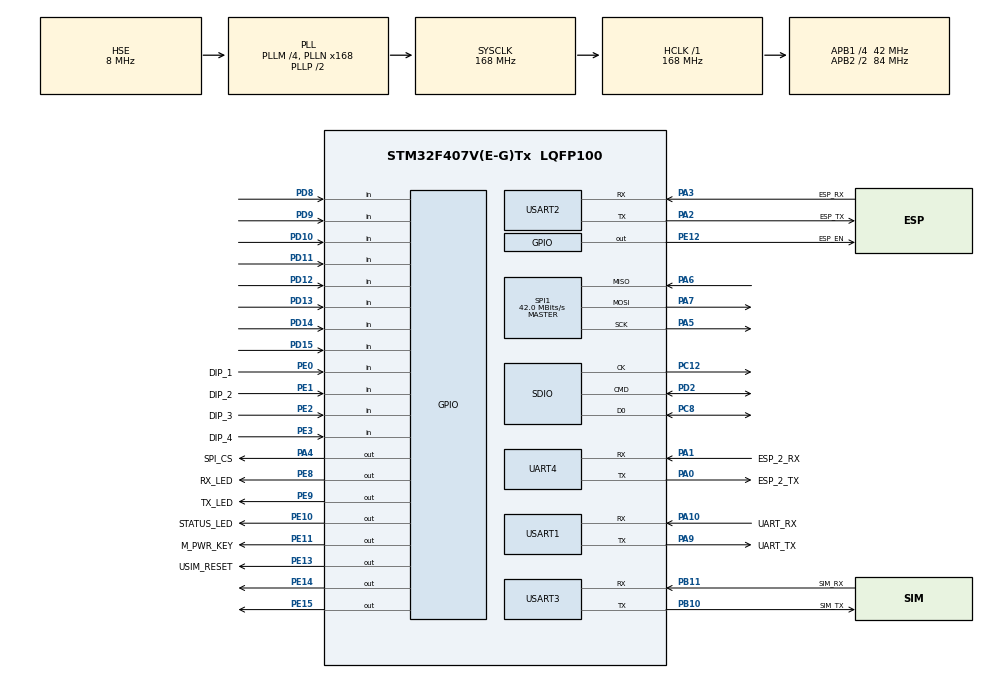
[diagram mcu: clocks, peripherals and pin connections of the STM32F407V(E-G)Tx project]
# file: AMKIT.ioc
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Mcu.Family=STM32F4
Mcu.Name=STM32F407V(E-G)Tx
Mcu.Package=LQFP100
NVIC.PriorityGroup=NVIC_PRIORITYGROUP_4
NVIC.RTC_Alarm_IRQn=true\:0\:0\:false\:false\:true\:true\:true\:true
NVIC.TIM7_IRQn=true\:0\:0\:false\:false\:true\:true\:true\:true
NVIC.USART1_IRQn=true\:0\:0\:false\:false\:true\:true\:true\:true
NVIC.USART2_IRQn=true\:0\:0\:false\:false\:true\:true\:true\:true
NVIC.USART3_IRQn=true\:0\:0\:false\:false\:true\:true\:true\:true
PA0-WKUP.GPIO_Label=ESP_2_TX
PA0-WKUP.Mode=Asynchronous
PA0-WKUP.Signal=UART4_TX
PA1.GPIO_Label=ESP_2_RX
PA1.Mode=Asynchronous
PA1.Signal=UART4_RX
PA10.GPIO_Label=UART_RX
PA10.Mode=Asynchronous
PA10.Signal=USART1_RX
PA13.Mode=Trace_Asynchronous_SW
PA13.Signal=SYS_JTMS-SWDIO
PA14.Mode=Trace_Asynchronous_SW
PA14.Signal=SYS_JTCK-SWCLK
PA2.GPIO_Label=ESP_TX
PA2.Mode=Asynchronous
PA2.Signal=USART2_TX
PA3.GPIO_Label=ESP_RX
PA3.Mode=Asynchronous
PA3.Signal=USART2_RX
PA4.GPIO_Label=SPI_CS
PA4.Signal=GPIO_Output
PA5.Mode=Full_Duplex_Master
PA5.Signal=SPI1_SCK
PA6.Mode=Full_Duplex_Master
PA6.Signal=SPI1_MISO
PA7.Mode=Full_Duplex_Master
PA7.Signal=SPI1_MOSI
PA9.GPIO_Label=UART_TX
PA9.Mode=Asynchronous
PA9.Signal=USART1_TX
PB10.GPIO_Label=SIM_TX
PB10.Mode=Asynchronous
PB10.Signal=USART3_TX
PB11.GPIO_Label=SIM_RX
PB11.Mode=Asynchronous
PB11.Signal=USART3_RX
PB3.Mode=Trace_Asynchronous_SW
PB3.Signal=SYS_JTDO-SWO
PC12.Mode=SD_1_bit
PC12.Signal=SDIO_CK
PC14-OSC32_IN.Mode=LSE-External-Oscillator
PC14-OSC32_IN.Signal=RCC_OSC32_IN
PC15-OSC32_OUT.Mode=LSE-External-Oscillator
PC15-OSC32_OUT.Signal=RCC_OSC32_OUT
PC8.Mode=SD_1_bit
PC8.Signal=SDIO_D0
PD10.Signal=GPIO_Input
PD11.Signal=GPIO_Input
PD12.Signal=GPIO_Input
PD13.Signal=GPIO_Input
PD14.Signal=GPIO_Input
PD15.Signal=GPIO_Input
PD2.Mode=SD_1_bit
PD2.Signal=SDIO_CMD
PD8.Signal=GPIO_Input
PD9.Signal=GPIO_Input
PE0.GPIO_Label=DIP_1
PE0.GPIO_PuPd=GPIO_PULLUP
PE0.Signal=GPIO_Input
PE1.GPIO_Label=DIP_2
PE1.GPIO_PuPd=GPIO_PULLUP
PE1.Signal=GPIO_Input
PE10.GPIO_Label=STATUS_LED
PE10.Signal=GPIO_Output
PE11.GPIO_Label=M_PWR_KEY
PE11.Signal=GPIO_Output
PE12.GPIO_Label=ESP_EN
PE12.Signal=GPIO_Output
PE13.GPIO_Label=USIM_RESET
PE13.Signal=GPIO_Output
PE14.Signal=GPIO_Output
PE15.Signal=GPIO_Output
PE2.GPIO_Label=DIP_3
PE2.GPIO_PuPd=GPIO_PULLUP
PE2.Signal=GPIO_Input
PE3.GPIO_Label=DIP_4
PE3.GPIO_PuPd=GPIO_PULLUP
PE3.Signal=GPIO_Input
PE8.GPIO_Label=RX_LED
PE8.Signal=GPIO_Output
PE9.GPIO_Label=TX_LED
PE9.Signal=GPIO_Output
PH0-OSC_IN.Mode=HSE-External-Oscillator
PH0-OSC_IN.Signal=RCC_OSC_IN
PH1-OSC_OUT.Mode=HSE-External-Oscillator
PH1-OSC_OUT.Signal=RCC_OSC_OUT
ProjectManager.HeapSize=0x200
ProjectManager.StackSize=0x400
ProjectManager.TargetToolchain=STM32CubeIDE
RCC.48MHZClocksFreq_Value=48000000
RCC.AHBFreq_Value=168000000
RCC.APB1CLKDivider=RCC_HCLK_DIV4
RCC.APB1Freq_Value=42000000
RCC.APB1TimFreq_Value=84000000
RCC.APB2CLKDivider=RCC_HCLK_DIV2
RCC.APB2Freq_Value=84000000
RCC.APB2TimFreq_Value=168000000
RCC.CortexFreq_Value=168000000
RCC.HCLKFreq_Value=168000000
RCC.HSE_VALUE=8000000
RCC.HSI_VALUE=16000000
RCC.PLLM=4
RCC.PLLN=168
RCC.PLLQ=7
RCC.PLLSourceVirtual=RCC_PLLSOURCE_HSE
RCC.RCC_RTC_Clock_Source=RCC_RTCCLKSOURCE_LSE
RCC.RCC_RTC_Clock_SourceVirtual=RCC_RTCCLKSOURCE_LSE
RCC.SYSCLKFreq_VALUE=168000000
RCC.SYSCLKSource=RCC_SYSCLKSOURCE_PLLCLK
RCC.VCOOutputFreq_Value=336000000
RTC.Alarm=RTC_ALARM_A
SPI1.BaudRatePrescaler=SPI_BAUDRATEPRESCALER_2
SPI1.CalculateBaudRate=42.0 MBits/s
SPI1.Direction=SPI_DIRECTION_2LINES
SPI1.Mode=SPI_MODE_MASTER
SPI1.VirtualType=VM_MASTER
TIM7.Period=840-1
TIM7.Prescaler=100-1
UART4.VirtualMode=Asynchronous
USART1.VirtualMode=VM_ASYNC
USART2.VirtualMode=VM_ASYNC
USART3.VirtualMode=VM_ASYNC
VP_FATFS_VS_SDIO.Mode=SDIO
VP_RTC_VS_RTC_Activate.Mode=RTC_Enabled
VP_RTC_VS_RTC_Alarm_A_Intern.Mode=Alarm A
VP_RTC_VS_RTC_Calendar.Mode=RTC_Calendar
VP_TIM7_VS_ClockSourceINT.Mode=Enable_Timer
board=custom

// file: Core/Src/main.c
/* USER CODE BEGIN Header */
/**
  ******************************************************************************
  * @file           : main.c
  * @brief          : Main program body
  ******************************************************************************
  * @attention
  *
  * Copyright (c) 2025 STMicroelectronics.
  * All rights reserved.
  *
  * This software is licensed under terms that can be found in the LICENSE file
  * in the root directory of this software component.
  * If no LICENSE file comes with this software, it is provided AS-IS.
  *
  ******************************************************************************
  */
/* USER CODE END Header */
#include "main.h"
#include "fatfs.h"

/* USER CODE BEGIN PD */

#define RTC_MAGIC_REG   RTC_BKP_DR1     // RTC 백업 레지스터 1번 사용
#define RTC_MAGIC_VALUE 0x32F2          // RTC 초기화 확인을 위한 매직 넘버

/* USER CODE END PD */

RTC_HandleTypeDef hrtc;

SD_HandleTypeDef hsd;

SPI_HandleTypeDef hspi1;

TIM_HandleTypeDef htim7;

UART_HandleTypeDef huart4;
UART_HandleTypeDef huart1;
UART_HandleTypeDef huart2;
UART_HandleTypeDef huart3;

/* USER CODE BEGIN PV */

#if 0
// // 전역 변수 선언
// static uint16_t ms_tick_1       = 0;                // 1 ms 카운터

// // STM UART 변수 선언
// static uint16_t alive_counter   = 0;                // 10 s 생존 메시지 카운터
// uint8_t txBuf[]                 = "Hello from STM32 IRQ!\r\n";
// uint8_t rxByte;                                     // 1 바이트 UART RX 버퍼
// uint8_t txAlive[]               = "ALIVE\n";        // 10 s 마다 보낼 메시지

// // ESP32 AT 명령어를 위한 변수 선언
// uint8_t atCmd[]                 = "AT+GMR\r\n";
// // uint8_t g_atRxByte;                                 // 1바이트씩 받기              / 외부 선언 해줬음
// // static char  atLineBuf[AT_RX_BUF_SIZE];             // AT 명령어 수신 버퍼         / 외부 선언 해줬음
// // static uint8_t atIdx            = 0;                // AT 명령어 수신 인덱스       / 외부 선언 해줬음

// // 모드 변수
// uint8_t g_nBoot_Status = BOOT_IN_PROGRESS;            // 부팅 상태 (0: 부팅 성공, 1: 부팅 중, 2: 부팅 실패 등)
// uint8_t g_nMode = 0;                                  // 현재 모드 (0: 마스터, 1: 슬레이브, 2: AP 등)
// uint8_t g_nWifi_Status = DEVICE_WIFI_DISCONNECTED;    // WiFi 연결 상태 (0: 연결 안됨, 1: 연결 됨)
// uint8_t g_nTime_Status = DEVICE_TIME_NOT_SYNCED;      // 시간 동기화 상태 (0: 동기화 안됨, 1: 동기화 됨)
// uint8_t g_nToken_Status = DEVICE_TOKEN_NOT_SET;       // 토큰 상태 (0: 토큰 없음, 1: 토큰 있음)

#endif
// RTC 변수 선언
RTC_TimeTypeDef g_Time;                             // RTC 시간 구조체
RTC_DateTypeDef g_Date;                             // RTC 날짜 구조체

/* USER CODE END PV */

void SystemClock_Config(void);
static void MX_GPIO_Init(void);
static void MX_RTC_Init(void);
static void MX_SDIO_SD_Init(void);
static void MX_SPI1_Init(void);
static void MX_TIM7_Init(void);
static void MX_USART1_UART_Init(void);
static void MX_USART2_UART_Init(void);
static void MX_USART3_UART_Init(void);
static void MX_UART4_Init(void);

int main(void)
{

  /* USER CODE BEGIN 1 */

	// =======================================================================================================
	//    __  __            _____  _   _
	//   |  \/  |    /\    |_   _|| \ | |
	//   | \  / |   /  \     | |  |  \| |
	//   | |\/| |  / /\ \    | |  | . ` |
	//   | |  | | / ____ \  _| |_ | |\  |
	//   |_|  |_|/_/    \_\|_____||_| \_|
	//
	// =======================================================================================================

  /* USER CODE END 1 */

  /* MCU Configuration--------------------------------------------------------*/

  /* Reset of all peripherals, Initializes the Flash interface and the Systick. */
  HAL_Init();

  /* Configure the system clock */
  SystemClock_Config();

  /* Initialize all configured peripherals */
  MX_GPIO_Init();
  MX_RTC_Init();
  MX_SDIO_SD_Init();
  MX_SPI1_Init();
  MX_TIM7_Init();
  MX_USART1_UART_Init();
  MX_USART2_UART_Init();
  MX_USART3_UART_Init();
  MX_FATFS_Init();
  MX_UART4_Init();
  /* USER CODE BEGIN 2 */

  // =-=-=-=-=-=-=-=-=-=-=-=-=-=-=-=-=-=-=-=-=-=-=-=-=-=-=-=-=-=-=-=-=-=-=-=-=-=-=-=-=-=
  // CCM 영역 초기화

  Oper_CCM_Init();

  // =-=-=-=-=-=-=-=-=-=-=-=-=-=-=-=-=-=-=-=-=-=-=-=-=-=-=-=-=-=-=-=-=-=-=-=-=-=-=-=-=-=

  // 타이머 인터럽트 모드로 시작 (TIM7은 이미 PSC/ARR로 1 kHz, 1 ms 인터럽트로 설정되어 있다고 가정)
  if (HAL_TIM_Base_Start_IT(&htim7) != HAL_OK)
  {
    Error_Handler();
  }

  // 1) 콜백 기반 수신을 시작 (1바이트)
  if (HAL_UART_Receive_IT(&huart1, &rxByte, 1) != HAL_OK)
  {
    // 수신 시작 실패 처리
    Error_Handler();
  }

  // SIM uart 콜백 기반 수신 시작
  if (HAL_UART_Receive_IT(&huart3, &rxSIMByte, 1) != HAL_OK)
  {
    // SIM 수신 시작 실패 처리
    Error_Handler();
  }

  // 2) 와이파이 설정 이후에 UART2 인터럽트 활성화 (1바이트씩)
  // if (HAL_UART_Receive_IT(&huart2, &g_atRxByte, 1) != HAL_OK)
  // {
  //   // 수신 시작 실패 처리
  //   Error_Handler();
  // }

  // ──────────────────────────────────────────────────────────────────────────────

  // CCM은 아니지만 기본 초기화
  Oper_Init();

  // ──────────────────────────────────────────────────────────────────────────────

  // 딥스위치 체크
  Mode_Check(); // AP 모드 체크 및 설정

  // ──────────────────────────────────────────────────────────────────────────────

  Main_System();

  // ──────────────────────────────────────────────────────────────────────────────

  // ──────────────────────────────────────────────────────────────────────────────

  // ──────────────────────────────────────────────────────────────────────────────

  Oper_Boot();

  // AP 모드 인지 확인
  if (g_nMode != MODE_AP)
  {
    // 토큰 값, 모기체 고유 값, 자기체 고유 값 서버로 전송
    Server_Send_Boot();
    // Test_Server_Send_Boot(); // 박과장님 서버로 날림
  }

  g_nBoot_Status = BOOT_SUCCESS; // 부팅 성공 상태로 설정

  // ESP_AT_Send_Command_Sync("AT+CIPMUX=1\r\n");  // 멀티 커넥션 모드 활성화
  // ESP_AT_Send_Command_Sync("AT+CIPSERVER=1,80\r\n"); // TCP 서버 시작 (포트 80)

  // ──────────────────────────────────────────────────────────────────────────────

  while (1)
  {
    Master_Proc(); // 메인 프로세스 실행

  }

  // ──────────────────────────────────────────────────────────────────────────────

  // ──────────────────────────────────────────────────────────────────────────────

  // ──────────────────────────────────────────────────────────────────────────────

  // ──────────────────────────────────────────────────────────────────────────────

  // dip 스위치 1번 상태 OFF(default) 상태일 때
  if (HAL_GPIO_ReadPin(DIP_1_GPIO_Port, DIP_1_Pin) == GPIO_PIN_RESET)
  {
    g_nMode = MODE_MASTER; // 마스터 모드로 설정
  }
  else
  {
    g_nMode = MODE_SLAVE; // 슬레이브 모드로 설정
  }

  /* USER CODE END 2 */

  /* Infinite loop */
  /* USER CODE BEGIN WHILE */
  while (1)
  {

#if 0
    switch (g_nMode)
    {
      case MODE_MASTER:
        // 마스터 모드 동작
        // STATUS LED 0.5초 ON, 0.5초 OFF
        HAL_GPIO_WritePin(STATUS_LED_GPIO_Port, STATUS_LED_Pin, GPIO_PIN_SET);  // LED ON
        HAL_Delay(500);  // 0.5초 대기
        HAL_GPIO_WritePin(STATUS_LED_GPIO_Port, STATUS_LED_Pin, GPIO_PIN_RESET); // LED OFF
        HAL_Delay(500);  // 0.5초 대기
        break;

      case MODE_SLAVE:
        break; // 슬레이브 모드 동작

      case MODE_AP:
        break;

      case MODE_UNKNOWN:
        break;

      default:
        break;
    }
#endif
    /* USER CODE END WHILE */

  }
}

void SystemClock_Config(void)
{
  RCC_OscInitTypeDef RCC_OscInitStruct = {0};
  RCC_ClkInitTypeDef RCC_ClkInitStruct = {0};

  /** Configure the main internal regulator output voltage
  */
  __HAL_RCC_PWR_CLK_ENABLE();
  __HAL_PWR_VOLTAGESCALING_CONFIG(PWR_REGULATOR_VOLTAGE_SCALE1);

  /** Initializes the RCC Oscillators according to the specified parameters
  * in the RCC_OscInitTypeDef structure.
  */
  RCC_OscInitStruct.OscillatorType = RCC_OSCILLATORTYPE_HSE|RCC_OSCILLATORTYPE_LSE;
  RCC_OscInitStruct.HSEState = RCC_HSE_ON;
  RCC_OscInitStruct.LSEState = RCC_LSE_ON;
  RCC_OscInitStruct.PLL.PLLState = RCC_PLL_ON;
  RCC_OscInitStruct.PLL.PLLSource = RCC_PLLSOURCE_HSE;
  RCC_OscInitStruct.PLL.PLLM = 4;
  RCC_OscInitStruct.PLL.PLLN = 168;
  RCC_OscInitStruct.PLL.PLLP = RCC_PLLP_DIV2;
  RCC_OscInitStruct.PLL.PLLQ = 7;
  if (HAL_RCC_OscConfig(&RCC_OscInitStruct) != HAL_OK)
  {
    Error_Handler();
  }

  /** Initializes the CPU, AHB and APB buses clocks
  */
  RCC_ClkInitStruct.ClockType = RCC_CLOCKTYPE_HCLK|RCC_CLOCKTYPE_SYSCLK
                              |RCC_CLOCKTYPE_PCLK1|RCC_CLOCKTYPE_PCLK2;
  RCC_ClkInitStruct.SYSCLKSource = RCC_SYSCLKSOURCE_PLLCLK;
  RCC_ClkInitStruct.AHBCLKDivider = RCC_SYSCLK_DIV1;
  RCC_ClkInitStruct.APB1CLKDivider = RCC_HCLK_DIV4;
  RCC_ClkInitStruct.APB2CLKDivider = RCC_HCLK_DIV2;

  if (HAL_RCC_ClockConfig(&RCC_ClkInitStruct, FLASH_LATENCY_5) != HAL_OK)
  {
    Error_Handler();
  }
}

static void MX_RTC_Init(void)
{

  /* USER CODE BEGIN RTC_Init 0 */
  // =======================================================================================================
  //    __  __ __   __           _____  _______  _____            _____         _  _
  //   |  \/  |\ \ / /          |  __ \|__   __|/ ____|          |_   _|       (_)| |
  //   | \  / | \ V /   ______  | |__) |  | |  | |       ______    | |   _ __   _ | |_
  //   | |\/| |  > <   |______| |  _  /   | |  | |      |______|   | |  | '_ \ | || __|
  //   | |  | | / . \           | | \ \   | |  | |____            _| |_ | | | || || |_
  //   |_|  |_|/_/ \_\          |_|  \_\  |_|   \_____|          |_____||_| |_||_| \__|
  //
  //
  // =======================================================================================================

  /* USER CODE END RTC_Init 0 */

  // RTC_TimeTypeDef sTime = {0};
  // RTC_DateTypeDef sDate = {0};
  // RTC_AlarmTypeDef sAlarm = {0};

  /* USER CODE BEGIN RTC_Init 1 */
  // 위 3개 구조체 변수는 사용안함, 주석처리
  /* USER CODE END RTC_Init 1 */

  /** Initialize RTC Only
  */
  hrtc.Instance = RTC;
  hrtc.Init.HourFormat = RTC_HOURFORMAT_24;
  hrtc.Init.AsynchPrediv = 127;
  hrtc.Init.SynchPrediv = 255;
  hrtc.Init.OutPut = RTC_OUTPUT_DISABLE;
  hrtc.Init.OutPutPolarity = RTC_OUTPUT_POLARITY_HIGH;
  hrtc.Init.OutPutType = RTC_OUTPUT_TYPE_OPENDRAIN;
  if (HAL_RTC_Init(&hrtc) != HAL_OK)
  {
    Error_Handler();
  }

  /* USER CODE BEGIN Check_RTC_BKUP */

  // RTC 백업 레지스터를 읽어 초기화 여부 확인
  if (HAL_RTCEx_BKUPRead(&hrtc, RTC_MAGIC_REG) != RTC_MAGIC_VALUE)
  {
    // RTC 백업 레지스터가 초기화되지 않았거나 값이 일치하지 않으면 RTC를 초기화
    // RTC 백업 레지스터에 초기화 마크를 기록
    HAL_RTCEx_BKUPWrite(&hrtc, RTC_MAGIC_REG, RTC_MAGIC_VALUE);

    // RTC 시간과 날짜를 초기화
    g_Time.Hours = 0x0;  // 00:00:00
    g_Time.Minutes = 0x0;
    g_Time.Seconds = 0x0;
    g_Time.DayLightSaving = RTC_DAYLIGHTSAVING_NONE;
    g_Time.StoreOperation = RTC_STOREOPERATION_RESET;

    if (HAL_RTC_SetTime(&hrtc, &g_Time, RTC_FORMAT_BCD) != HAL_OK)
    {
      // 초기화 실패 처리
      Error_Handler();
    }
    g_Date.WeekDay = RTC_WEEKDAY_MONDAY;    // 월요일
    g_Date.Month = RTC_MONTH_JANUARY;       // 1월
    g_Date.Date = 0x1;                      // 1일
    g_Date.Year = 0x25;                     // 2025년 (BCD 형식으로 25)

    if (HAL_RTC_SetDate(&hrtc, &g_Date, RTC_FORMAT_BCD) != HAL_OK)
    {
      // 초기화 실패 처리
      Error_Handler();
    }

  }
  else
  {
    // RTC 백업 레지스터가 초기화되어 있으면 현재 시간과 날짜를 읽어옴
    HAL_RTC_GetTime(&hrtc, &g_Time, RTC_FORMAT_BCD);
    HAL_RTC_GetDate(&hrtc, &g_Date, RTC_FORMAT_BCD);
  }

// 아래 코드 사용안함===============================================================================
  /* USER CODE END Check_RTC_BKUP */

  /** Initialize RTC and set the Time and Date
  */
  // sTime.Hours = 0x0;
  // sTime.Minutes = 0x0;
  // sTime.Seconds = 0x0;
  // sTime.DayLightSaving = RTC_DAYLIGHTSAVING_NONE;
  // sTime.StoreOperation = RTC_STOREOPERATION_RESET;
  // if (HAL_RTC_SetTime(&hrtc, &sTime, RTC_FORMAT_BCD) != HAL_OK)
  // {
  //   Error_Handler();
  // }
  // sDate.WeekDay = RTC_WEEKDAY_MONDAY;
  // sDate.Month = RTC_MONTH_JANUARY;
  // sDate.Date = 0x1;
  // sDate.Year = 0x0;

  // if (HAL_RTC_SetDate(&hrtc, &sDate, RTC_FORMAT_BCD) != HAL_OK)
  // {
  //   Error_Handler();
  // }

  // /** Enable the Alarm A
  // */
  // sAlarm.AlarmTime.Hours = 0x0;
  // sAlarm.AlarmTime.Minutes = 0x0;
  // sAlarm.AlarmTime.Seconds = 0x0;
  // sAlarm.AlarmTime.SubSeconds = 0x0;
  // sAlarm.AlarmTime.DayLightSaving = RTC_DAYLIGHTSAVING_NONE;
  // sAlarm.AlarmTime.StoreOperation = RTC_STOREOPERATION_RESET;
  // sAlarm.AlarmMask = RTC_ALARMMASK_NONE;
  // sAlarm.AlarmSubSecondMask = RTC_ALARMSUBSECONDMASK_ALL;
  // sAlarm.AlarmDateWeekDaySel = RTC_ALARMDATEWEEKDAYSEL_DATE;
  // sAlarm.AlarmDateWeekDay = 0x1;
  // sAlarm.Alarm = RTC_ALARM_A;
  // if (HAL_RTC_SetAlarm_IT(&hrtc, &sAlarm, RTC_FORMAT_BCD) != HAL_OK)
  // {
  //   Error_Handler();
  // }
  /* USER CODE BEGIN RTC_Init 2 */
// 위 코드 사용안함===============================================================================
  /* USER CODE END RTC_Init 2 */

}

static void MX_SDIO_SD_Init(void)
{

  hsd.Instance = SDIO;
  hsd.Init.ClockEdge = SDIO_CLOCK_EDGE_RISING;
  hsd.Init.ClockBypass = SDIO_CLOCK_BYPASS_DISABLE;
  hsd.Init.ClockPowerSave = SDIO_CLOCK_POWER_SAVE_DISABLE;
  hsd.Init.BusWide = SDIO_BUS_WIDE_1B;
  hsd.Init.HardwareFlowControl = SDIO_HARDWARE_FLOW_CONTROL_DISABLE;
  hsd.Init.ClockDiv = 0;

}

static void MX_SPI1_Init(void)
{

  /* SPI1 parameter configuration*/
  hspi1.Instance = SPI1;
  hspi1.Init.Mode = SPI_MODE_MASTER;
  hspi1.Init.Direction = SPI_DIRECTION_2LINES;
  hspi1.Init.DataSize = SPI_DATASIZE_8BIT;
  hspi1.Init.CLKPolarity = SPI_POLARITY_LOW;
  hspi1.Init.CLKPhase = SPI_PHASE_1EDGE;
  hspi1.Init.NSS = SPI_NSS_SOFT;
  hspi1.Init.BaudRatePrescaler = SPI_BAUDRATEPRESCALER_2;
  hspi1.Init.FirstBit = SPI_FIRSTBIT_MSB;
  hspi1.Init.TIMode = SPI_TIMODE_DISABLE;
  hspi1.Init.CRCCalculation = SPI_CRCCALCULATION_DISABLE;
  hspi1.Init.CRCPolynomial = 10;
  if (HAL_SPI_Init(&hspi1) != HAL_OK)
  {
    Error_Handler();
  }

}

static void MX_TIM7_Init(void)
{

  TIM_MasterConfigTypeDef sMasterConfig = {0};

  htim7.Instance = TIM7;
  htim7.Init.Prescaler = 100-1;
  htim7.Init.CounterMode = TIM_COUNTERMODE_UP;
  htim7.Init.Period = 840-1;
  htim7.Init.AutoReloadPreload = TIM_AUTORELOAD_PRELOAD_DISABLE;
  if (HAL_TIM_Base_Init(&htim7) != HAL_OK)
  {
    Error_Handler();
  }
  sMasterConfig.MasterOutputTrigger = TIM_TRGO_RESET;
  sMasterConfig.MasterSlaveMode = TIM_MASTERSLAVEMODE_DISABLE;
  if (HAL_TIMEx_MasterConfigSynchronization(&htim7, &sMasterConfig) != HAL_OK)
  {
    Error_Handler();
  }

}

static void MX_UART4_Init(void)
{

  huart4.Instance = UART4;
  huart4.Init.BaudRate = 115200;
  huart4.Init.WordLength = UART_WORDLENGTH_8B;
  huart4.Init.StopBits = UART_STOPBITS_1;
  huart4.Init.Parity = UART_PARITY_NONE;
  huart4.Init.Mode = UART_MODE_TX_RX;
  huart4.Init.HwFlowCtl = UART_HWCONTROL_NONE;
  huart4.Init.OverSampling = UART_OVERSAMPLING_16;
  if (HAL_UART_Init(&huart4) != HAL_OK)
  {
    Error_Handler();
  }

}

static void MX_USART1_UART_Init(void)
{

  huart1.Instance = USART1;
  huart1.Init.BaudRate = 115200;
  huart1.Init.WordLength = UART_WORDLENGTH_8B;
  huart1.Init.StopBits = UART_STOPBITS_1;
  huart1.Init.Parity = UART_PARITY_NONE;
  huart1.Init.Mode = UART_MODE_TX_RX;
  huart1.Init.HwFlowCtl = UART_HWCONTROL_NONE;
  huart1.Init.OverSampling = UART_OVERSAMPLING_16;
  if (HAL_UART_Init(&huart1) != HAL_OK)
  {
    Error_Handler();
  }

}

static void MX_USART2_UART_Init(void)
{

  huart2.Instance = USART2;
  huart2.Init.BaudRate = 115200;
  huart2.Init.WordLength = UART_WORDLENGTH_8B;
  huart2.Init.StopBits = UART_STOPBITS_1;
  huart2.Init.Parity = UART_PARITY_NONE;
  huart2.Init.Mode = UART_MODE_TX_RX;
  huart2.Init.HwFlowCtl = UART_HWCONTROL_NONE;
  huart2.Init.OverSampling = UART_OVERSAMPLING_16;
  if (HAL_UART_Init(&huart2) != HAL_OK)
  {
    Error_Handler();
  }

}

static void MX_USART3_UART_Init(void)
{

  huart3.Instance = USART3;
  huart3.Init.BaudRate = 115200;
  huart3.Init.WordLength = UART_WORDLENGTH_8B;
  huart3.Init.StopBits = UART_STOPBITS_1;
  huart3.Init.Parity = UART_PARITY_NONE;
  huart3.Init.Mode = UART_MODE_TX_RX;
  huart3.Init.HwFlowCtl = UART_HWCONTROL_NONE;
  huart3.Init.OverSampling = UART_OVERSAMPLING_16;
  if (HAL_UART_Init(&huart3) != HAL_OK)
  {
    Error_Handler();
  }

}

static void MX_GPIO_Init(void)
{
  GPIO_InitTypeDef GPIO_InitStruct = {0};

  /* GPIO Ports Clock Enable */
  __HAL_RCC_GPIOE_CLK_ENABLE();
  __HAL_RCC_GPIOC_CLK_ENABLE();
  __HAL_RCC_GPIOH_CLK_ENABLE();
  __HAL_RCC_GPIOA_CLK_ENABLE();
  __HAL_RCC_GPIOB_CLK_ENABLE();
  __HAL_RCC_GPIOD_CLK_ENABLE();

  /*Configure GPIO pin Output Level */
  HAL_GPIO_WritePin(SPI_CS_GPIO_Port, SPI_CS_Pin, GPIO_PIN_RESET);

  /*Configure GPIO pin Output Level */
  HAL_GPIO_WritePin(GPIOE, RX_LED_Pin|TX_LED_Pin|STATUS_LED_Pin|M_PWR_KEY_Pin
                          |ESP_EN_Pin|USIM_RESET_Pin|GPIO_PIN_14|GPIO_PIN_15, GPIO_PIN_RESET);

  /*Configure GPIO pins : DIP_3_Pin DIP_4_Pin DIP_1_Pin DIP_2_Pin */
  GPIO_InitStruct.Pin = DIP_3_Pin|DIP_4_Pin|DIP_1_Pin|DIP_2_Pin;
  GPIO_InitStruct.Mode = GPIO_MODE_INPUT;
  GPIO_InitStruct.Pull = GPIO_PULLUP;
  HAL_GPIO_Init(GPIOE, &GPIO_InitStruct);

  /*Configure GPIO pin : SPI_CS_Pin */
  GPIO_InitStruct.Pin = SPI_CS_Pin;
  GPIO_InitStruct.Mode = GPIO_MODE_OUTPUT_PP;
  GPIO_InitStruct.Pull = GPIO_NOPULL;
  GPIO_InitStruct.Speed = GPIO_SPEED_FREQ_LOW;
  HAL_GPIO_Init(SPI_CS_GPIO_Port, &GPIO_InitStruct);

  /*Configure GPIO pins : RX_LED_Pin TX_LED_Pin STATUS_LED_Pin M_PWR_KEY_Pin
                           ESP_EN_Pin USIM_RESET_Pin PE14 PE15 */
  GPIO_InitStruct.Pin = RX_LED_Pin|TX_LED_Pin|STATUS_LED_Pin|M_PWR_KEY_Pin
                          |ESP_EN_Pin|USIM_RESET_Pin|GPIO_PIN_14|GPIO_PIN_15;
  GPIO_InitStruct.Mode = GPIO_MODE_OUTPUT_PP;
  GPIO_InitStruct.Pull = GPIO_NOPULL;
  GPIO_InitStruct.Speed = GPIO_SPEED_FREQ_LOW;
  HAL_GPIO_Init(GPIOE, &GPIO_InitStruct);

  /*Configure GPIO pins : PD8 PD9 PD10 PD11
                           PD12 PD13 PD14 PD15 */
  GPIO_InitStruct.Pin = GPIO_PIN_8|GPIO_PIN_9|GPIO_PIN_10|GPIO_PIN_11
                          |GPIO_PIN_12|GPIO_PIN_13|GPIO_PIN_14|GPIO_PIN_15;
  GPIO_InitStruct.Mode = GPIO_MODE_INPUT;
  GPIO_InitStruct.Pull = GPIO_NOPULL;
  HAL_GPIO_Init(GPIOD, &GPIO_InitStruct);

}

/* USER CODE BEGIN 4 */

// =======================================================================================================
//    _______  _____  __  __       ______
//   |__   __||_   _||  \/  |     |____  |
//      | |     | |  | \  / | ______  / /
//      | |     | |  | |\/| ||______|/ /
//      | |    _| |_ | |  | |       / /
//      |_|   |_____||_|  |_|      /_/
//
//
// =======================================================================================================
/* tim 7 인터럽트 처리부 */
/* TIM7 업데이트 인터럽트 콜백 */
void HAL_TIM_PeriodElapsedCallback(TIM_HandleTypeDef *htim)
{
  if (htim->Instance == TIM7)
  {
    Timer_Interrupt_Proc();
#if 0
    ms_tick_1++;
    alive_counter++;
    g_nBoot_Tick++; // 부팅 타이머 증가

    if (ms_tick_1 >= 200)         // 200 ms 경과 체크
    {
      ms_tick_1 = 0;
      // HAL_GPIO_TogglePin(STATUS_LED_GPIO_Port, STATUS_LED_Pin);
    }

    if (g_nBoot_Status == BOOT_SUCCESS && alive_counter >= 5000)    // 10 s 경과 체크
    {
      alive_counter = 0;

      /* 1) RTC에서 현재 시간 읽기 */
      // RTC_TimeTypeDef sTime;
      // RTC_DateTypeDef sDate;
      HAL_RTC_GetTime(&hrtc, &g_Time, RTC_FORMAT_BIN);
      HAL_RTC_GetDate(&hrtc, &g_Date, RTC_FORMAT_BIN);

      /* 2) 문자열로 포맷 */
      char buf[64];

      int len = snprintf(buf, sizeof(buf), "ALIVE: %02d.%02d / %02d:%02d:%02d\n",
                        g_Date.Month,g_Date.Date, g_Time.Hours, g_Time.Minutes, g_Time.Seconds);

      // 생존 메시지 전송
      //HAL_UART_Transmit_IT(&huart1, txAlive, sizeof(txAlive) - 1);

      /* 3) UART로 생존 및 시간 전송 */
      // UART1로 현재 시간 전송
      HAL_UART_Transmit_IT(&huart1, (uint8_t *)buf, len);

      // if (HAL_UART_Transmit_IT(&huart2, atCmd, sizeof(atCmd) - 1) != HAL_OK)
      // {
      //   // AT 명령 전송 실패 처리
      //   Error_Handler();
      // }
    }
#endif
  }
}

// =======================================================================================================
//    _    _           _____  _______
//   | |  | |   /\    |  __ \|__   __|
//   | |  | |  /  \   | |__) |  | |
//   | |  | | / /\ \  |  _  /   | |
//   | |__| |/ ____ \ | | \ \   | |
//    \____//_/    \_\|_|  \_\  |_|
//
//
// =======================================================================================================
/* uart 1 처리부 */
/* UART Rx Complete 콜백 */
void HAL_UART_RxCpltCallback(UART_HandleTypeDef *huart)
{
  // uart1에서 수신된 바이트를 처리
  if (huart->Instance == USART1)
  {
    // 1) 에코: 받은 바이트를 바로 송신
    HAL_UART_Transmit_IT(&huart1, &rxByte, 1);

    // 2) 다시 수신 대기
    HAL_UART_Receive_IT(&huart1, &rxByte, 1);
  }

  // uart2에서 수신된 바이트를 처리

  if (huart->Instance == USART2)
  {
    char c = g_atRxByte;

    // 1) 수신 바이트를 라인 버퍼에 저장
    if (atIdx < AT_RX_BUF_SIZE-1)
    {
      atLineBuf[atIdx++] = c;
    }

    // 2) '\n' 이 들어오면 한 줄 완성
    if (c == '\n' || c == '\r')
    {
      atLineBuf[atIdx] = '\0';  // 문자열 종료

      // AT 명령어 처리 로직 (예: AT 명령어 파싱 및 응답)
      // 여기서 atLineBuf를 사용하여 AT 명령어를 처리
      // 받은 명령을 다시 STM uart 송신
      HAL_UART_Transmit_IT(&huart1, (uint8_t *)atLineBuf, atIdx);

      atIdx = 0;  // 인덱스 초기화
    }

    // 2) 다시 수신 대기
    HAL_UART_Receive_IT(&huart2, &g_atRxByte, 1);
  }

  // uart3에서 수신된 바이트를 처리
  if (huart->Instance == USART3)
  {
    // SIM 카드에서 수신된 바이트를 처리
    // 예: SIM 카드 응답을 UART1로 전달
    HAL_UART_Transmit_IT(&huart1, &rxSIMByte, 1);

    // 다시 수신 대기
    HAL_UART_Receive_IT(&huart3, &rxSIMByte, 1);
  }

#if 0
  if (huart->Instance == USART2)
    {
        char c = g_atRxByte;

        // CR(\r)은 무시, LF(\n)으로만 라인 완성 체크
        if (c != '\r')
        {
            if (c == '\n')
            {
                atLineBuf[atIdx] = '\0';  // 문자열 종료

                // 1) 에코(AT… 명령어)인지 체크
                if (skipEcho && strcmp(atLineBuf, lastCmdBuf) == 0)
                {
                    // 에코이므로 무시
                    skipEcho = 0;
                }
                else
                {
                    // 실제 응답 또는 URC → PC로 전송
                    HAL_UART_Transmit_IT(&huart1,
                                         (uint8_t *)atLineBuf,
                                         strlen(atLineBuf));
                    // 필요하면 줄바꿈도 함께
                    HAL_UART_Transmit_IT(&huart1,
                                         (uint8_t *)"\r\n", 2);
                }

                atIdx = 0;  // 다음 라인용 버퍼 인덱스 초기화
            }
            else
            {
                // 일반 문자면 버퍼에 저장
                if (atIdx < AT_RX_BUF_SIZE - 1)
                    atLineBuf[atIdx++] = c;
            }
        }

        // 2) 다시 UART2 수신 대기
        HAL_UART_Receive_IT(&huart2, &g_atRxByte, 1);
    }
#endif

}

/* UART 전송 완료 콜백 (필요 시..) */
void HAL_UART_TxCpltCallback(UART_HandleTypeDef *huart)
{
  // 전송 완료 후 다른 처리가 필요하면 여기에…
}

// ================================================================================
// ================================================================================

/* USER CODE END 4 */

void Error_Handler(void)
{
  __disable_irq();
  while (1)
  {
  }
}
